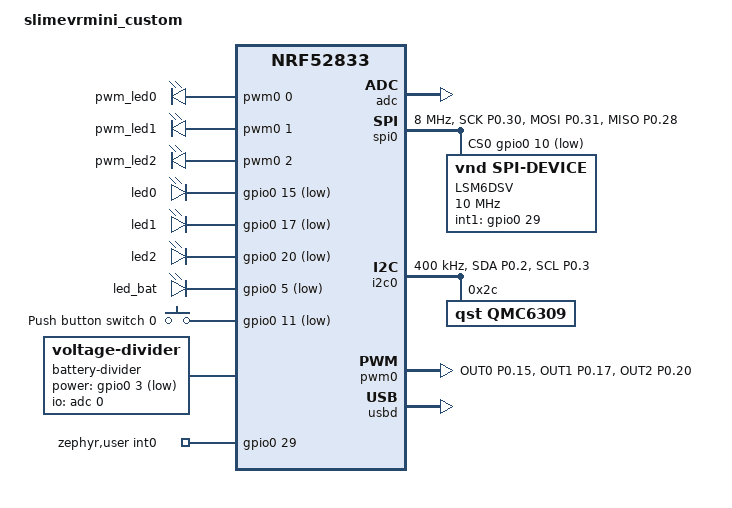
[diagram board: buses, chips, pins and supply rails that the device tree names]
/dts-v1/;
#include <nordic/nrf52833_qdaa.dtsi>

/ {
	model = "slimevrmini_custom";
	compatible = "slimevrmini_custom";

	chosen {
		zephyr,sram = &sram0;
		zephyr,flash = &flash0;
		zephyr,console = &cdc_acm_uart0;
		zephyr,shell-uart = &cdc_acm_uart0;
	};

	pwmleds {
		compatible = "pwm-leds";
		pwm_led0: pwm_led_0 { pwms = <&pwm0 0 PWM_MSEC(1) PWM_POLARITY_INVERTED>; };
		pwm_led1: pwm_led_1 { pwms = <&pwm0 1 PWM_MSEC(1) PWM_POLARITY_INVERTED>; };
		pwm_led2: pwm_led_2 { pwms = <&pwm0 2 PWM_MSEC(1) PWM_POLARITY_INVERTED>; };
	};

	leds {
		compatible = "gpio-leds";
		led0: led_0 { gpios = <&gpio0 15 (GPIO_OPEN_DRAIN | GPIO_ACTIVE_LOW)>; };  // red
		led1: led_1 { gpios = <&gpio0 17 (GPIO_OPEN_DRAIN | GPIO_ACTIVE_LOW)>; };  // green
		led2: led_2 { gpios = <&gpio0 20 (GPIO_OPEN_DRAIN | GPIO_ACTIVE_LOW)>; };  // blue
		led_bat: led_3 { gpios = <&gpio0 5 (GPIO_OPEN_DRAIN | GPIO_ACTIVE_LOW)>; }; // battery charging
	};

	buttons {
		compatible = "gpio-keys";
		button0: button_0 { gpios = <&gpio0 11 (GPIO_PULL_UP | GPIO_ACTIVE_LOW)>; label = "Push button switch 0"; };
	};

	aliases {
		sw0 = &button0;
		pwm-led0 = &pwm_led0;
		pwm-led1 = &pwm_led1;
		pwm-led2 = &pwm_led2;
		led0 = &led0;
		led1 = &led1;
		led2 = &led2;
		led-bat = &led_bat;
	};

	battery-divider {
		compatible = "voltage-divider";
		status = "okay";
		io-channels = <&adc 0>;     // ADC channel
		output-ohms = <536000>;
		full-ohms = <(887000+536000)>;
		power-gpios = <&gpio0 3 (GPIO_OPEN_DRAIN | GPIO_ACTIVE_LOW)>;
	};

	zephyr,user {
		int0-gpios = <&gpio0 29 GPIO_ACTIVE_HIGH>; // LSM6DSV INT1
	};
};

/* ---------- PINCTRL ---------- */
&pinctrl {

	spi0_default: spi0_default {
		group1 { psels = <NRF_PSEL(SPIM_SCK, 0, 30)>, <NRF_PSEL(SPIM_MOSI, 0, 31)>, <NRF_PSEL(SPIM_MISO, 0, 28)>; };
	};

	spi0_sleep: spi0_sleep {
		group1 { psels = <NRF_PSEL(SPIM_SCK, 0, 30)>, <NRF_PSEL(SPIM_MOSI, 0, 31)>, <NRF_PSEL(SPIM_MISO, 0, 28)>; low-power-enable; };
	};

	i2c0_default: i2c0_default {
		group1 { psels = <NRF_PSEL(TWIM_SDA, 0, 2)>, <NRF_PSEL(TWIM_SCL, 0, 3)>; };
	};

	i2c0_sleep: i2c0_sleep {
		group1 { psels = <NRF_PSEL(TWIM_SDA, 0, 2)>, <NRF_PSEL(TWIM_SCL, 0, 3)>; low-power-enable; };
	};

	pwm0_default: pwm0_default {
		group1 { psels = <NRF_PSEL(PWM_OUT0, 0, 15)>, <NRF_PSEL(PWM_OUT1, 0, 17)>, <NRF_PSEL(PWM_OUT2, 0, 20)>; nordic,drive-mode = <NRF_DRIVE_D0S1>; nordic,invert; };
	};

	pwm0_sleep: pwm0_sleep {
		group1 { psels = <NRF_PSEL(PWM_OUT0, 0, 15)>, <NRF_PSEL(PWM_OUT1, 0, 17)>, <NRF_PSEL(PWM_OUT2, 0, 20)>; low-power-enable; };
	};
};

/* ---------- REGULATOR ---------- */
&reg1 { regulator-initial-mode = <NRF5X_REG_MODE_DCDC>; };

/* ---------- ADC ---------- */
&adc { status = "okay"; };

/* ---------- GPIO ---------- */
&gpiote { status = "okay"; };
&gpio0 { status = "okay"; };
&gpio1 { status = "okay"; };

/* ---------- SPI0 (LSM6DSV) ---------- */
&spi0 {
	status = "okay";
	compatible = "nordic,nrf-spim";
	cs-gpios = <&gpio0 10 GPIO_ACTIVE_LOW>;
	pinctrl-0 = <&spi0_default>;
	pinctrl-1 = <&spi0_sleep>;
	pinctrl-names = "default", "sleep";
	clock-frequency = <DT_FREQ_M(8)>;

	imu_spi: lsm6dsv@0 {
		compatible = "vnd,spi-device";
		reg = <0>;
		spi-max-frequency = <DT_FREQ_M(10)>;
		label = "LSM6DSV";
		int1-gpios = <&gpio0 29 GPIO_ACTIVE_HIGH>;
	};
};

/* ---------- I2C0 (QMC6309) ---------- */
&i2c0 {
	compatible = "nordic,nrf-twim";
	status = "okay";
	pinctrl-0 = <&i2c0_default>;
	pinctrl-1 = <&i2c0_sleep>;
	pinctrl-names = "default", "sleep";
	clock-frequency = <I2C_BITRATE_FAST>;

	qmc6309: qmc6309@2c {
		compatible = "qst,qmc6309";
		reg = <0x2c>;
		label = "QMC6309";
	};
};

/* ---------- PWM ---------- */
&pwm0 {
	status = "okay";
	pinctrl-0 = <&pwm0_default>;
	pinctrl-1 = <&pwm0_sleep>;
	pinctrl-names = "default", "sleep";
};

/* ---------- USB ---------- */
zephyr_udc0: &usbd { compatible = "nordic,nrf-usbd"; status = "okay";
	cdc_acm_uart0: cdc_acm_uart0 { compatible = "zephyr,cdc-acm-uart"; };
};

/* ---------- Disable NFC ---------- */
&nfct { status = "disabled"; };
